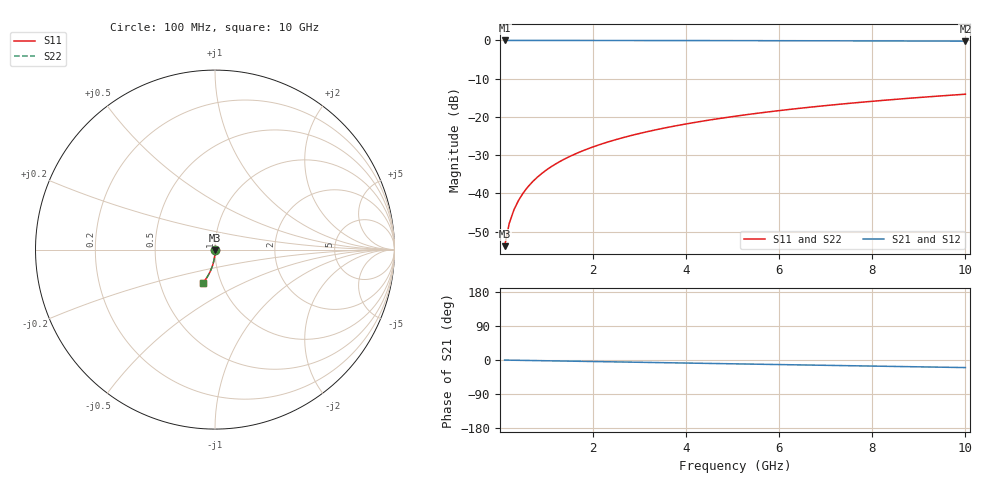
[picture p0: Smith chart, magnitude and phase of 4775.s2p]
# Hz S RI R 50.00
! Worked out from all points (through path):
!   100 points, 100 MHz to 10 GHz, reference 50 ohm
!   highest |S21| = 0.00 dB at 100 MHz (marker M1); lowest = -0.2 dB at 10 GHz (marker M2)
!   group delay of S21, straight-line fit = 5.56 ps
!   lowest |S11| = -53.8 dB at 100 MHz (marker M3), VSWR 1.00, Z = 50 - j0.203 ohm
!   |S11| at or under -10 dB: start of sweep to end of sweep
!   |S22| runs from -53.8 to -14.1 dB; largest |S21 - S12| = 0
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1e8  0.000212 -0.00203  0.9998 -0.0035  0.9998 -0.0035  0.000212 -0.00203
2e8  0.00019 -0.00405  0.9997 -0.00699  0.9997 -0.00699  0.00019 -0.00405
3e8  0.000153 -0.00608  0.9997 -0.0105  0.9997 -0.0105  0.000153 -0.00608
4e8  0.000102 -0.0081  0.9996 -0.014  0.9996 -0.014  0.000102 -0.0081
5e8  3.62e-05 -0.0101  0.9996 -0.0175  0.9996 -0.0175  3.62e-05 -0.0101
6e8  -4.37e-05 -0.0121  0.9995 -0.021  0.9995 -0.021  -4.37e-05 -0.0121
7e8  -0.000138 -0.0142  0.9994 -0.0245  0.9994 -0.0245  -0.000138 -0.0142
8e8  -0.000246 -0.0162  0.9992 -0.028  0.9992 -0.028  -0.000246 -0.0162
9e8  -0.000369 -0.0182  0.9991 -0.0315  0.9991 -0.0315  -0.000369 -0.0182
1.1e9  -0.000656 -0.0223  0.9988 -0.0384  0.9988 -0.0384  -0.000656 -0.0223
1.4e9  -0.00119 -0.0283  0.9981 -0.0489  0.9981 -0.0489  -0.00119 -0.0283
1.8e9  -0.00211 -0.0364  0.9971 -0.0629  0.9971 -0.0629  -0.00211 -0.0364
2.1e9  -0.00294 -0.0424  0.9961 -0.0733  0.9961 -0.0733  -0.00294 -0.0424
2.5e9  -0.00425 -0.0504  0.9946 -0.0873  0.9946 -0.0873  -0.00425 -0.0504
2.9e9  -0.00579 -0.0584  0.9928 -0.1011  0.9928 -0.1011  -0.00579 -0.0584
3.4e9  -0.00802 -0.0683  0.9902 -0.1184  0.9902 -0.1184  -0.00802 -0.0683
4.2e9  -0.0123 -0.084  0.9853 -0.146  0.9853 -0.146  -0.0123 -0.084
5.1e9  -0.0182 -0.1013  0.9785 -0.1767  0.9785 -0.1767  -0.0182 -0.1013
5.9e9  -0.0243 -0.1163  0.9714 -0.2036  0.9714 -0.2036  -0.0243 -0.1163
6.7e9  -0.0312 -0.131  0.9633 -0.2302  0.9633 -0.2302  -0.0312 -0.131
8.4e9  -0.0485 -0.1605  0.9431 -0.2853  0.9431 -0.2853  -0.0485 -0.1605
1e10  -0.0677 -0.1861  0.9206 -0.3351  0.9206 -0.3351  -0.0677 -0.1861
